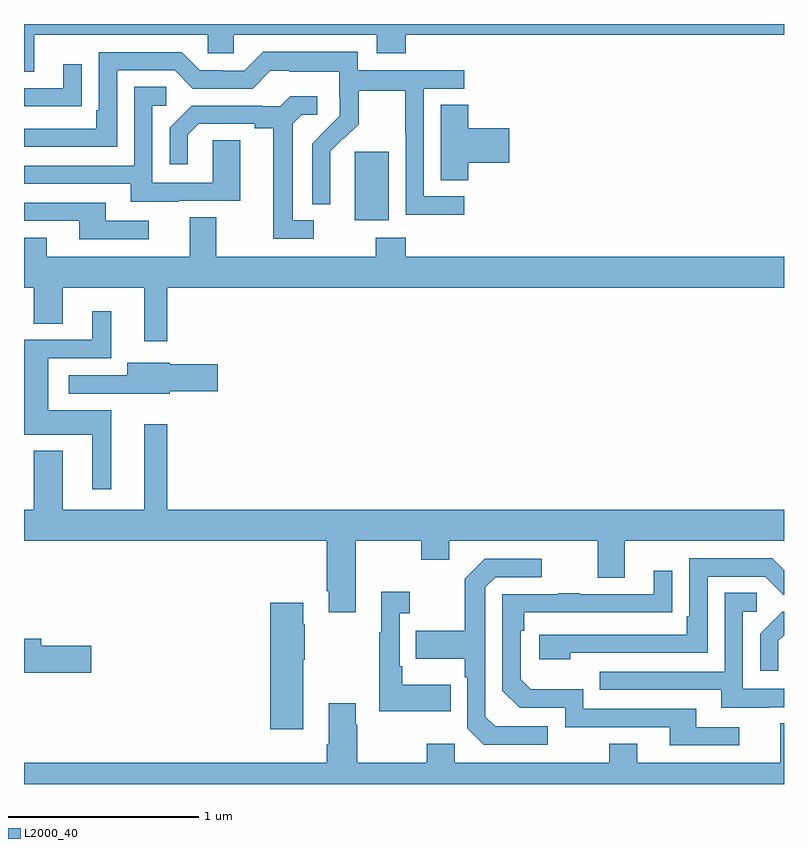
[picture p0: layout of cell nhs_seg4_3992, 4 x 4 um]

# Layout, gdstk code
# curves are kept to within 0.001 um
import gdstk
lib = gdstk.Library(unit=1e-6, precision=1e-09)
def R(c, l, rs):  # rectangles x0, y0, x1, y1
    for r in rs: c.add(gdstk.rectangle(r[:2], r[2:], *l))
def P(c, l, *ps):  # polygons
    for p in ps: c.add(gdstk.Polygon(p, *l))
L2000_40 = (2000, 40)

nhs_seg4_3992 = lib.new_cell('nhs_seg4_3992')
R(nhs_seg4_3992, L2000_40, [(324.74,771.866,324.919,772.227)])
P(nhs_seg4_3992, L2000_40, [(323.053,772.844),(323.967,772.844),(323.967,772.746),(324.105,772.746),(324.105,772.844),(324.857,772.844),(324.857,772.745),(325.01,772.745),(325.01,772.844),(327,772.844),(327,772.9),(323,772.9),(323,772.65),(323.053,772.65)],
  [(325.318,771.993),(325.104,771.993),(325.104,772.56),(325.318,772.56),(325.318,772.656),(324.756,772.656),(324.756,772.753),(324.259,772.753),(324.159,772.653),(324.044,772.653),(324.044,772.656),(323.925,772.656),(323.829,772.752),(323.394,772.752),(323.394,772.447),(323.381,772.447),(323.381,772.35),(323,772.35),(323,772.254),(323.49,772.254),(323.49,772.656),(323.793,772.656),(323.889,772.56),(324.204,772.56),(324.297,772.653),(324.397,772.653),(324.397,772.649),(324.66,772.649),(324.66,772.515),(324.662,772.515),(324.662,772.418),(324.516,772.27),(324.516,771.952),(324.612,771.952),(324.611,772.229),(324.681,772.299),(324.684,772.296),(324.761,772.373),(324.761,772.548),(325.006,772.548),(325.006,772.324),(325.008,772.324),(325.008,771.895),(325.318,771.895)],
  [(323.201,772.468),(323.303,772.468),(323.303,772.687),(323.207,772.687),(323.207,772.563),(323,772.563),(323,772.467),(323.201,772.467)],
  [(323.815,771.969),(324.139,771.969),(324.139,772.289),(323.994,772.289),(323.994,772.065),(323.676,772.065),(323.676,772.47),(323.749,772.47),(323.749,772.571),(323.58,772.571),(323.58,772.155),(323,772.155),(323,772.059),(323.561,772.059),(323.561,771.965),(323.815,771.965)],
  [(324.526,771.867),(324.415,771.867),(324.415,772.375),(324.462,772.422),(324.544,772.422),(324.544,772.519),(324.4,772.519),(324.348,772.467),(324.254,772.467),(324.254,772.47),(323.882,772.47),(323.766,772.354),(323.766,772.161),(323.863,772.161),(323.863,772.317),(323.92,772.374),(324.215,772.374),(324.215,772.352),(324.311,772.352),(324.311,771.771),(324.526,771.771)],
  [(325.337,772.169),(325.555,772.169),(325.555,772.352),(325.337,772.352),(325.337,772.475),(325.193,772.475),(325.193,772.078),(325.337,772.078)],
  [(323.656,771.864),(323.431,771.864),(323.431,771.96),(323,771.96),(323,771.864),(323.291,771.864),(323.291,771.768),(323.656,771.768)],
  [(323.119,771.775),(323,771.775),(323,771.512),(323.051,771.512),(323.051,771.322),(323.203,771.322),(323.203,771.512),(323.633,771.512),(323.633,771.231),(323.755,771.231),(323.755,771.512),(327,771.512),(327,771.676),(325.01,771.676),(325.01,771.775),(324.85,771.775),(324.85,771.676),(324.013,771.676),(324.013,771.884),(323.873,771.884),(323.873,771.676),(323.119,771.676)],
  [(323.458,770.866),(323.128,770.866),(323.128,771.141),(323.458,771.141),(323.458,771.388),(323.36,771.388),(323.36,771.237),(323,771.237),(323,770.738),(323.36,770.738),(323.36,770.451),(323.458,770.451)],
  [(323.766,770.966),(324.019,770.966),(324.019,771.108),(323.766,771.108),(323.766,771.118),(323.543,771.118),(323.543,771.051),(323.235,771.051),(323.235,770.955),(323.547,770.955),(323.547,770.954),(323.766,770.954)],
  [(324.745,770.18),(325.09,770.18),(325.09,770.081),(325.237,770.081),(325.237,770.18),(326.021,770.18),(326.021,769.986),(326.161,769.986),(326.161,770.18),(327,770.18),(327,770.344),(323.755,770.344),(323.755,770.794),(323.633,770.794),(323.633,770.344),(323.203,770.344),(323.203,770.653),(323.051,770.653),(323.051,770.344),(323,770.344),(323,770.18),(324.593,770.18),(324.593,769.915),(324.605,769.915),(324.605,769.803),(324.745,769.803)],
  [(325.874,769.59),(326.598,769.59),(326.598,769.992),(326.901,769.992),(326.997,769.896),(327,769.896),(327,770.025),(326.937,770.088),(326.502,770.088),(326.502,769.783),(326.489,769.783),(326.489,769.686),(325.713,769.686),(325.713,769.556),(325.874,769.556)],
  [(325.756,769.203),(325.479,769.203),(325.428,769.254),(325.428,769.935),(325.482,769.989),(325.726,769.989),(325.726,770.085),(325.425,770.085),(325.32,769.979),(325.32,769.707),(325.063,769.707),(325.063,769.559),(325.32,769.559),(325.32,769.463),(325.332,769.463),(325.332,769.194),(325.419,769.107),(325.756,769.107)],
  [(326.764,769.2),(326.539,769.2),(326.539,769.296),(325.944,769.296),(325.944,769.399),(325.667,769.399),(325.614,769.452),(325.614,769.706),(325.634,769.706),(325.634,769.803),(326.411,769.804),(326.411,770.023),(326.315,770.023),(326.315,769.899),(325.925,769.899),(325.925,769.904),(325.813,769.904),(325.813,769.899),(325.518,769.899),(325.518,769.392),(325.608,769.302),(325.848,769.302),(325.848,769.2),(326.399,769.2),(326.399,769.104),(326.764,769.104)],
  [(325.247,769.423),(324.991,769.423),(324.991,769.519),(324.978,769.519),(324.978,769.799),(325.03,769.799),(325.03,769.912),(324.881,769.912),(324.881,769.699),(324.87,769.699),(324.87,769.283),(325.247,769.283)],
  [(326.923,769.305),(327,769.305),(327,769.401),(326.784,769.401),(326.784,769.806),(326.857,769.806),(326.857,769.907),(326.688,769.907),(326.688,769.491),(326.029,769.491),(326.029,769.395),(326.669,769.395),(326.669,769.301),(326.923,769.301)],
  [(324.469,769.553),(324.477,769.553),(324.477,769.742),(324.469,769.742),(324.469,769.855),(324.296,769.855),(324.296,769.188),(324.469,769.188)],
  [(326.971,769.653),(327,769.682),(327,769.806),(326.99,769.806),(326.874,769.69),(326.874,769.497),(326.971,769.497)],
  [(323.353,769.628),(323.092,769.628),(323.092,769.664),(323,769.664),(323,769.486),(323.353,769.486)],
  [(327,769.22),(326.981,769.22),(326.981,769.012),(326.227,769.012),(326.227,769.111),(326.08,769.111),(326.08,769.012),(325.266,769.012),(325.266,769.111),(325.12,769.111),(325.12,769.012),(324.753,769.012),(324.753,769.211),(324.745,769.211),(324.745,769.324),(324.605,769.324),(324.605,769.108),(324.593,769.108),(324.593,769.012),(323,769.012),(323,768.9),(327,768.9)])

lib.write_gds('nhs_seg4_3992.gds')
